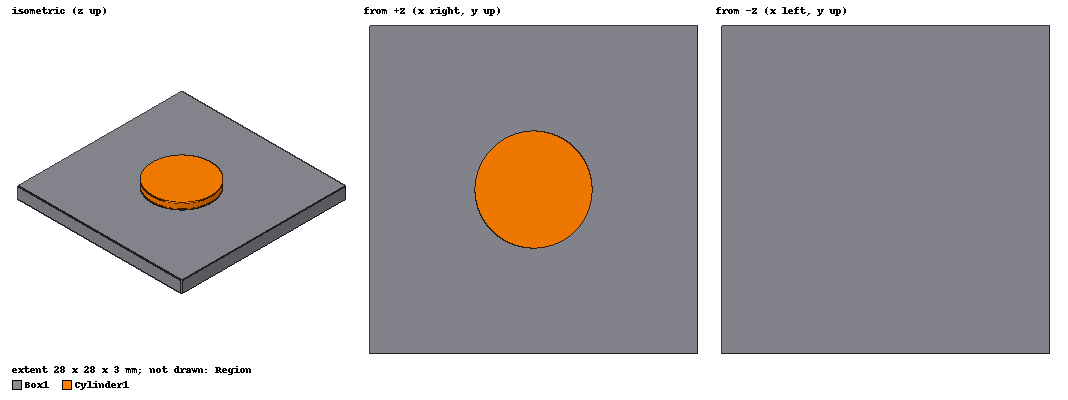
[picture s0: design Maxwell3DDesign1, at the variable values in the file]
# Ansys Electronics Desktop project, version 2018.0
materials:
  vacuum: permittivity=1
  Arnold_Magnetics_N42_20C: permeability{BType=normal HUnit=A_per_meter BUnit=tesla curve (-1003000, -1.3041) (-998000, -0.4195) (-993000, -0.237) (-979000, -0.0821) (-967000, -0.0272) (-956000, 0.0089) (-944000, 0.037) (-932000, 0.061) (-920000, 0.0826) (-908000, 0.1027) (-897000, 0.1218) (-885000, 0.1401) (-873000, 0.1579) (-861000, 0.1753) (-849000, 0.1924) (-838000, 0.2092) (-826000, 0.2258) (-814000, 0.2423) (-802000, 0.2587) (-790000, 0.2749) (-779000, 0.2911) (-767000, 0.3071) (-755000, 0.3231) (-743000, 0.3391) (-731000, 0.3549) (-720000, 0.3708) (-708000, 0.3866) (-696000, 0.4024) (-684000, 0.4181) (-672000, 0.4338) (-661000, 0.4495) (-649000, 0.4651) (-637000, 0.4808) (-625000, 0.4964) (-613000, 0.512) (-602000, 0.5276) (-590000, 0.5432) (-578000, 0.5587) (-566000, 0.5743) (-554000, 0.5898) (-543000, 0.6054) (-531000, 0.6209) (-519000, 0.6364) (-507000, 0.6519) (-495000, 0.6674) (-484000, 0.6829) (-472000, 0.6984) (-460000, 0.7138) (-448000, 0.7293) (-436000, 0.7448) (-425000, 0.7602) (-413000, 0.7757) (-401000, 0.7912) (-389000, 0.8066) (-377000, 0.822) (-366000, 0.8375) (-354000, 0.8529) (-342000, 0.8684) (-330000, 0.8838) (-319000, 0.8992) (-307000, 0.9146) (-295000, 0.9301) (-283000, 0.9455) (-271000, 0.9609) (-260000, 0.9763) (-248000, 0.9917) (-236000, 1.0071) (-224000, 1.0225) (-212000, 1.0379) (-201000, 1.0534) (-189000, 1.0688) (-177000, 1.0842) (-165000, 1.0996) (-153000, 1.115) (-142000, 1.1303) (-130000, 1.1457) (-118000, 1.1611) (-106000, 1.1765) (-94000, 1.1919) (-83000, 1.2073) (-71000, 1.2227) (-59000, 1.2381) (-47000, 1.2535) (-35000, 1.2689) (-24000, 1.2842) (-12000, 1.2996) (0, 1.315)} conductivity=555555.5556 magnetic_coercivity{Magnitude=-905300A_per_meter DirComp1=0 DirComp2=0 DirComp3=1}
  steel_1008: permeability{BType=normal HUnit=A_per_meter BUnit=tesla curve (0, 0) (159.2, 0.2402) (318.3, 0.8654) (477.5, 1.1106) (636.6, 1.2458) (795.8, 1.331) (1591.5, 1.5) (3183.1, 1.6) (4774.6, 1.683) (6366.2, 1.741) (7957.7, 1.78) (15915.5, 1.905) (31831, 2.025) (47746.5, 2.085) (63662, 2.13) (79577.5, 2.165) (159155, 2.28) (318310, 2.485) (397887, 2.5851)} conductivity=2000000

design Maxwell3DDesign1 (Maxwell 3D, Magnetostatic, model units mm)
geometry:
  Cylinder1 [Arnold_Magnetics_N42_20C] = cylinder(axis=Z, base_centre=(0mm, 0mm, 0mm), radius=5mm, height=1mm)
  Box1 [steel_1008] = box(corner=(-14mm, -14mm, 0mm), size=(28mm, 28mm, -2mm))
  Region [vacuum] = region(percentage_offset: +X=50, -X=50, +Y=50, -Y=50, +Z=500, -Z=500)
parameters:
  Force1: Force Reference_CS=Global Is_Virtual=true Objects=Cylinder1
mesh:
  initial mesh: GlobalCurvilinear{Apply}
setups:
  Setup1: Magnetostatic MaximumPasses=20 MinimumPasses=2 MinimumConvergedPasses=1 PercentRefinement=30 PercentError=1 NonLinearResidual=0.001
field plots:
  Streamline1: B over a plane on Setup1 : LastAdaptive
